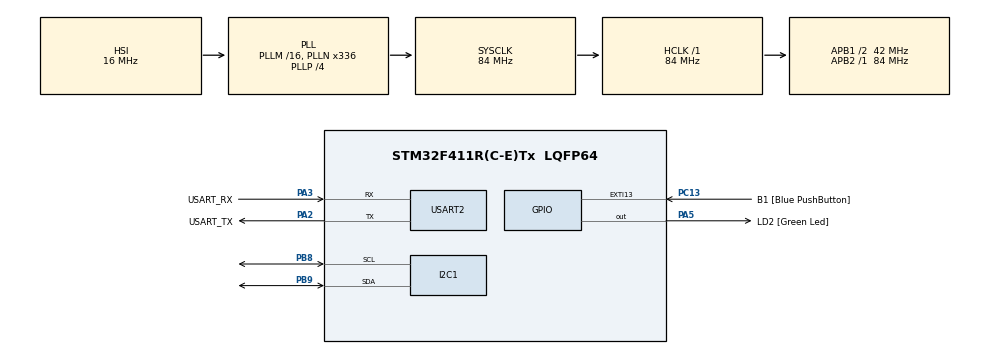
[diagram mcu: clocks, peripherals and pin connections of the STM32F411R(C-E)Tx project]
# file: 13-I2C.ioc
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I2C1.AddressingMode=I2C_ADDRESSINGMODE_7BIT
I2C1.I2C_Mode=I2C_Fast
Mcu.Family=STM32F4
Mcu.Name=STM32F411R(C-E)Tx
Mcu.Package=LQFP64
NVIC.I2C1_ER_IRQn=true\:0\:0\:false\:false\:true\:true\:true\:true
NVIC.I2C1_EV_IRQn=true\:0\:0\:false\:false\:true\:true\:true\:true
NVIC.PriorityGroup=NVIC_PRIORITYGROUP_0
PA13.GPIO_Label=TMS
PA13.Mode=Serial_Wire
PA13.Signal=SYS_JTMS-SWDIO
PA14.GPIO_Label=TCK
PA14.Mode=Serial_Wire
PA14.Signal=SYS_JTCK-SWCLK
PA2.GPIO_Label=USART_TX
PA2.Mode=Asynchronous
PA2.Signal=USART2_TX
PA3.GPIO_Label=USART_RX
PA3.Mode=Asynchronous
PA3.Signal=USART2_RX
PA5.GPIO_Label=LD2 [Green Led]
PA5.Signal=GPIO_Output
PB3.GPIO_Label=SWO
PB3.Signal=SYS_JTDO-SWO
PB8.GPIO_Pu=GPIO_PULLUP
PB8.Mode=I2C
PB8.Signal=I2C1_SCL
PB9.GPIO_Pu=GPIO_PULLUP
PB9.Mode=I2C
PB9.Signal=I2C1_SDA
PC13-ANTI_TAMP.GPIO_Label=B1 [Blue PushButton]
PC13-ANTI_TAMP.GPIO_ModeDefaultEXTI=GPIO_MODE_IT_FALLING
PC13-ANTI_TAMP.Signal=GPXTI13
PC14-OSC32_IN.Mode=LSE-External-Oscillator
PC14-OSC32_IN.Signal=RCC_OSC32_IN
PC15-OSC32_OUT.Mode=LSE-External-Oscillator
PC15-OSC32_OUT.Signal=RCC_OSC32_OUT
PH0\ -\ OSC_IN.Mode=HSE-External-Clock-Source
PH0\ -\ OSC_IN.Signal=RCC_OSC_IN
PH1\ -\ OSC_OUT.Mode=HSE-External-Clock-Source
PH1\ -\ OSC_OUT.Signal=RCC_OSC_OUT
ProjectManager.HeapSize=0x200
ProjectManager.StackSize=0x400
ProjectManager.TargetToolchain=STM32CubeIDE
RCC.48MHZClocksFreq_Value=84000000
RCC.AHBFreq_Value=84000000
RCC.APB1CLKDivider=RCC_HCLK_DIV2
RCC.APB1Freq_Value=42000000
RCC.APB1TimFreq_Value=84000000
RCC.APB2Freq_Value=84000000
RCC.APB2TimFreq_Value=84000000
RCC.CortexFreq_Value=84000000
RCC.FLatency-AdvancedSettings=FLASH_LATENCY_2
RCC.HCLKFreq_Value=84000000
RCC.HSE_VALUE=8000000
RCC.HSI_VALUE=16000000
RCC.PLLN=336
RCC.PLLP=RCC_PLLP_DIV4
RCC.SYSCLKFreq_VALUE=84000000
RCC.SYSCLKSource=RCC_SYSCLKSOURCE_PLLCLK
RCC.VCOOutputFreq_Value=336000000
USART2.VirtualMode=VM_ASYNC
board=NUCLEO-F411RE

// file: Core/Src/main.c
/* USER CODE BEGIN Header */
/**
 ******************************************************************************
 * @file           : main.c
 * @brief          : Main program body
 ******************************************************************************
 * @attention
 *
 * <h2><center>&copy; Copyright (c) 2021 STMicroelectronics.
 * All rights reserved.</center></h2>
 *
 * This software component is licensed by ST under BSD 3-Clause license,
 * the "License"; You may not use this file except in compliance with the
 * License. You may obtain a copy of the License at:
 *                        opensource.org/licenses/BSD-3-Clause
 *
 ******************************************************************************
 */
/* USER CODE END Header */
#include "main.h"

/* USER CODE BEGIN PD */
#define EEPROM_ADDR 0b10100000
#define IOEXPD_ADDR 0b01000000

#define test_addr 0b01010100101
/* USER CODE END PD */

 I2C_HandleTypeDef hi2c1;

UART_HandleTypeDef huart2;

/* USER CODE BEGIN PV */
uint8_t eepromExampleWriteFlag = 0;
uint8_t eepromExampleReadFlag = 0;
uint8_t IOExpdrExampleWriteFlag = 0;
uint8_t IOExpdrExampleReadFlag = 0;
uint8_t eepromDataReadBack[4];
uint8_t IOExpdrDataReadBack;
uint8_t IOExpdrDataWrite = 0b01010101;

/* USER CODE END PV */

void SystemClock_Config(void);
static void MX_GPIO_Init(void);
static void MX_USART2_UART_Init(void);
static void MX_I2C1_Init(void);
/* USER CODE BEGIN PFP */
void EEPROMWriteExample();
void EEPROMReadExample(uint8_t *Rdata, uint16_t len);

void IOExpenderInit();
void IOExpenderReadPinA(uint8_t *Rdata);
void IOExpenderWritePinB(uint8_t Wdata);

/* USER CODE END PFP */

int main(void)
{

  /* MCU Configuration--------------------------------------------------------*/

  /* Reset of all peripherals, Initializes the Flash interface and the Systick. */
  HAL_Init();

  /* Configure the system clock */
  SystemClock_Config();

  /* Initialize all configured peripherals */
  MX_GPIO_Init();
  MX_USART2_UART_Init();
  MX_I2C1_Init();
  /* USER CODE BEGIN 2 */
  HAL_Delay(100);
  IOExpenderInit();
  /* USER CODE END 2 */

  /* Infinite loop */
  /* USER CODE BEGIN WHILE */
#define test_addr 0b10100000
  static uint8_t dataq[4] = { 0xff, 0x00, 0x55, 0xaa };
//  HAL_I2C_Mem_Write_IT(&hi2c1, test_addr, 0x01, I2C_MEMADD_SIZE_16BIT,dataq, 4);
	while (1) {
		EEPROMWriteExample();
		EEPROMReadExample(eepromDataReadBack, 4);

		IOExpenderReadPinA(&IOExpdrDataReadBack);
		IOExpenderWritePinB(IOExpdrDataWrite);

    /* USER CODE END WHILE */

	}
}

void SystemClock_Config(void)
{
  RCC_OscInitTypeDef RCC_OscInitStruct = {0};
  RCC_ClkInitTypeDef RCC_ClkInitStruct = {0};

  /** Configure the main internal regulator output voltage
  */
  __HAL_RCC_PWR_CLK_ENABLE();
  __HAL_PWR_VOLTAGESCALING_CONFIG(PWR_REGULATOR_VOLTAGE_SCALE1);

  /** Initializes the RCC Oscillators according to the specified parameters
  * in the RCC_OscInitTypeDef structure.
  */
  RCC_OscInitStruct.OscillatorType = RCC_OSCILLATORTYPE_HSI;
  RCC_OscInitStruct.HSIState = RCC_HSI_ON;
  RCC_OscInitStruct.HSICalibrationValue = RCC_HSICALIBRATION_DEFAULT;
  RCC_OscInitStruct.PLL.PLLState = RCC_PLL_ON;
  RCC_OscInitStruct.PLL.PLLSource = RCC_PLLSOURCE_HSI;
  RCC_OscInitStruct.PLL.PLLM = 16;
  RCC_OscInitStruct.PLL.PLLN = 336;
  RCC_OscInitStruct.PLL.PLLP = RCC_PLLP_DIV4;
  RCC_OscInitStruct.PLL.PLLQ = 4;
  if (HAL_RCC_OscConfig(&RCC_OscInitStruct) != HAL_OK)
  {
    Error_Handler();
  }

  /** Initializes the CPU, AHB and APB buses clocks
  */
  RCC_ClkInitStruct.ClockType = RCC_CLOCKTYPE_HCLK|RCC_CLOCKTYPE_SYSCLK
                              |RCC_CLOCKTYPE_PCLK1|RCC_CLOCKTYPE_PCLK2;
  RCC_ClkInitStruct.SYSCLKSource = RCC_SYSCLKSOURCE_PLLCLK;
  RCC_ClkInitStruct.AHBCLKDivider = RCC_SYSCLK_DIV1;
  RCC_ClkInitStruct.APB1CLKDivider = RCC_HCLK_DIV2;
  RCC_ClkInitStruct.APB2CLKDivider = RCC_HCLK_DIV1;

  if (HAL_RCC_ClockConfig(&RCC_ClkInitStruct, FLASH_LATENCY_2) != HAL_OK)
  {
    Error_Handler();
  }
}

static void MX_I2C1_Init(void)
{

  hi2c1.Instance = I2C1;
  hi2c1.Init.ClockSpeed = 400000;
  hi2c1.Init.DutyCycle = I2C_DUTYCYCLE_2;
  hi2c1.Init.OwnAddress1 = 0;
  hi2c1.Init.AddressingMode = I2C_ADDRESSINGMODE_7BIT;
  hi2c1.Init.DualAddressMode = I2C_DUALADDRESS_DISABLE;
  hi2c1.Init.OwnAddress2 = 0;
  hi2c1.Init.GeneralCallMode = I2C_GENERALCALL_DISABLE;
  hi2c1.Init.NoStretchMode = I2C_NOSTRETCH_DISABLE;
  if (HAL_I2C_Init(&hi2c1) != HAL_OK)
  {
    Error_Handler();
  }

}

static void MX_USART2_UART_Init(void)
{

  huart2.Instance = USART2;
  huart2.Init.BaudRate = 115200;
  huart2.Init.WordLength = UART_WORDLENGTH_8B;
  huart2.Init.StopBits = UART_STOPBITS_1;
  huart2.Init.Parity = UART_PARITY_NONE;
  huart2.Init.Mode = UART_MODE_TX_RX;
  huart2.Init.HwFlowCtl = UART_HWCONTROL_NONE;
  huart2.Init.OverSampling = UART_OVERSAMPLING_16;
  if (HAL_UART_Init(&huart2) != HAL_OK)
  {
    Error_Handler();
  }

}

static void MX_GPIO_Init(void)
{
  GPIO_InitTypeDef GPIO_InitStruct = {0};

  /* GPIO Ports Clock Enable */
  __HAL_RCC_GPIOC_CLK_ENABLE();
  __HAL_RCC_GPIOH_CLK_ENABLE();
  __HAL_RCC_GPIOA_CLK_ENABLE();
  __HAL_RCC_GPIOB_CLK_ENABLE();

  /*Configure GPIO pin Output Level */
  HAL_GPIO_WritePin(LD2_GPIO_Port, LD2_Pin, GPIO_PIN_RESET);

  /*Configure GPIO pin : B1_Pin */
  GPIO_InitStruct.Pin = B1_Pin;
  GPIO_InitStruct.Mode = GPIO_MODE_IT_FALLING;
  GPIO_InitStruct.Pull = GPIO_NOPULL;
  HAL_GPIO_Init(B1_GPIO_Port, &GPIO_InitStruct);

  /*Configure GPIO pin : LD2_Pin */
  GPIO_InitStruct.Pin = LD2_Pin;
  GPIO_InitStruct.Mode = GPIO_MODE_OUTPUT_PP;
  GPIO_InitStruct.Pull = GPIO_NOPULL;
  GPIO_InitStruct.Speed = GPIO_SPEED_FREQ_LOW;
  HAL_GPIO_Init(LD2_GPIO_Port, &GPIO_InitStruct);

}

/* USER CODE BEGIN 4 */
void EEPROMWriteExample() {
	if (eepromExampleWriteFlag && hi2c1.State == HAL_I2C_STATE_READY) {

		static uint8_t data[4] = { 0xff, 0x00, 0x55, 0xaa };
		HAL_I2C_Mem_Write_IT(&hi2c1, EEPROM_ADDR, 0x124D, I2C_MEMADD_SIZE_16BIT,
				data, 4);

		eepromExampleWriteFlag = 0;
	}
}
void EEPROMReadExample(uint8_t *Rdata, uint16_t len) {
	if (eepromExampleReadFlag && hi2c1.State == HAL_I2C_STATE_READY) {

		HAL_I2C_Mem_Read_IT(&hi2c1, EEPROM_ADDR, 0x124D, I2C_MEMADD_SIZE_16BIT,
				Rdata, len);
		eepromExampleReadFlag = 0;
	}
}
void IOExpenderInit() {
	//Init All
	static uint8_t Setting[0x16] = { 0xFF, 0x00, 0x00, 0x00, 0x00, 0x00, 0x00,
			0x00, 0x00, 0x00, 0x00, 0x00, 0xFF, 0x00, 0x00, 0x00, 0x00, 0x00,
			0x00, 0x00, 0x00, 0x00 };
	HAL_I2C_Mem_Write(&hi2c1, IOEXPD_ADDR, 0x00, I2C_MEMADD_SIZE_8BIT, Setting,
			0x16, 100);
}
void IOExpenderReadPinA(uint8_t *Rdata) {
	if (IOExpdrExampleReadFlag && hi2c1.State == HAL_I2C_STATE_READY) {
		HAL_I2C_Mem_Read_IT(&hi2c1, IOEXPD_ADDR, 0x12, I2C_MEMADD_SIZE_8BIT,
				Rdata, 1);
		IOExpdrExampleReadFlag =0;
	}
}
void IOExpenderWritePinB(uint8_t Wdata) {
	if (IOExpdrExampleWriteFlag && hi2c1.State == HAL_I2C_STATE_READY) {
		static uint8_t data;
		data = Wdata;
		HAL_I2C_Mem_Write_IT(&hi2c1, IOEXPD_ADDR, 0x15, I2C_MEMADD_SIZE_8BIT,
				&data, 1);
		IOExpdrExampleWriteFlag=0;
	}
}
/* USER CODE END 4 */

void Error_Handler(void)
{
	__disable_irq();
	while (1) {
	}
}
